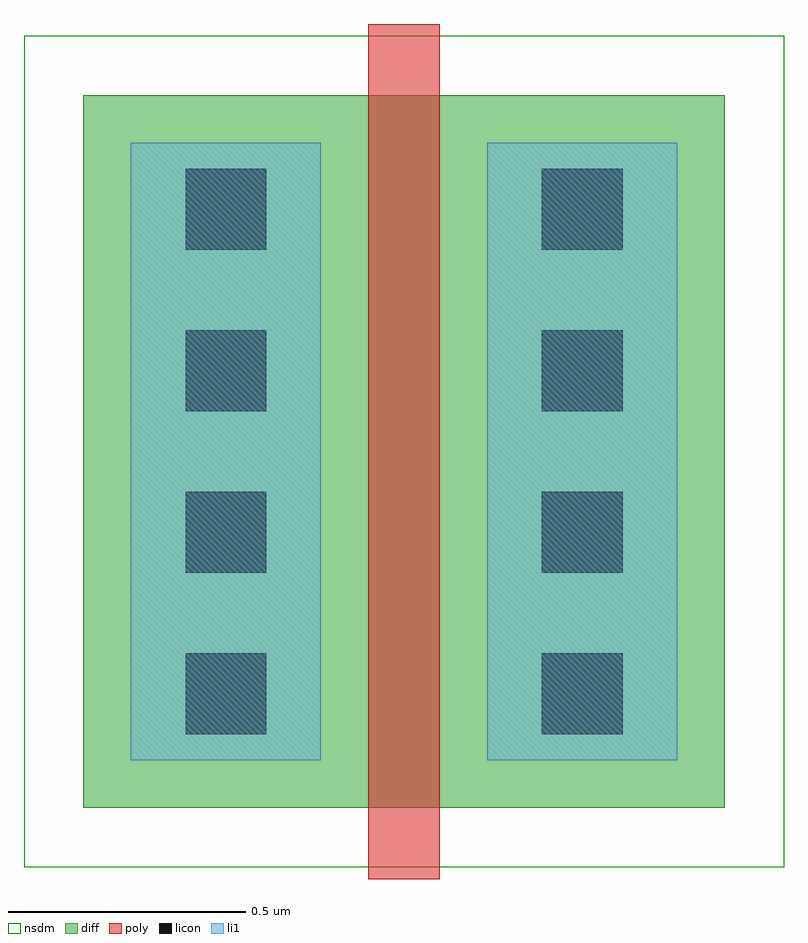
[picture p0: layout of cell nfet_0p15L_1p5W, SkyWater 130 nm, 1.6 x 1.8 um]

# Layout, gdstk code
import gdstk
lib = gdstk.Library(unit=1e-6, precision=1e-09)
def R(c, l, rs):  # rectangles x0, y0, x1, y1
    for r in rs: c.add(gdstk.rectangle(r[:2], r[2:], *l))
def A(c, l, x, y, w, h, nx, ny, dx, dy):  # array of equal rectangles
    R(c, l, [(x+i*dx, y+j*dy, x+i*dx+w, y+j*dy+h) for i in range(nx) for j in range(ny)])
diff = (65, 20)
poly = (66, 20)
licon = (66, 44)
li1 = (67, 20)
nsdm = (93, 44)

nfet_0p15l_1p5w = lib.new_cell('nfet_0p15L_1p5W')
R(nfet_0p15l_1p5w, diff, [(-0.75,-0.1,0.6,1.4)])
R(nfet_0p15l_1p5w, poly, [(-0.15,-0.25,0,1.55)])
A(nfet_0p15l_1p5w, licon, -0.535, 0.055, 0.17, 0.17, 1, 4, 0, 0.34)
A(nfet_0p15l_1p5w, licon, 0.215, 0.055, 0.17, 0.17, 1, 4, 0, 0.34)
R(nfet_0p15l_1p5w, li1, [(-0.65,0,-0.25,1.3), (0.1,0,0.5,1.3)])
R(nfet_0p15l_1p5w, nsdm, [(-0.875,-0.225,0.725,1.525)])

lib.write_gds('nfet_0p15L_1p5W.gds')
